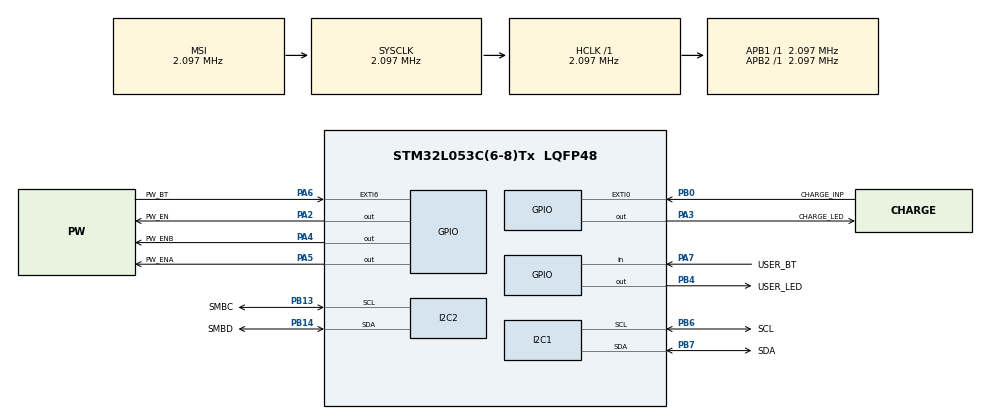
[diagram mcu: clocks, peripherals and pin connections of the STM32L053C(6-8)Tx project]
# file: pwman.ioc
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I2C1.SMBusOwnAddress=19
Mcu.Family=STM32L0
Mcu.Name=STM32L053C(6-8)Tx
Mcu.Package=LQFP48
NVIC.EXTI0_1_IRQn=true\:0\:0\:false\:false\:true\:true
NVIC.EXTI4_15_IRQn=true\:0\:0\:false\:false\:true\:true
NVIC.I2C1_IRQn=true\:0\:0\:false\:false\:true\:true
PA13.Mode=Serial_Wire
PA13.Signal=SYS_SWDIO
PA14.Mode=Serial_Wire
PA14.Signal=SYS_SWCLK
PA2.GPIO_Label=PW_EN
PA2.Signal=GPIO_Output
PA3.GPIO_Label=CHARGE_LED
PA3.Signal=GPIO_Output
PA4.GPIO_Label=PW_ENB
PA4.Signal=GPIO_Output
PA5.GPIO_Label=PW_ENA
PA5.Signal=GPIO_Output
PA6.GPIO_Label=PW_BT
PA6.GPIO_ModeDefaultEXTI=GPIO_MODE_IT_FALLING
PA6.GPIO_PuPd=GPIO_PULLUP
PA6.Signal=GPXTI6
PA7.GPIO_Label=USER_BT
PA7.GPIO_PuPd=GPIO_PULLUP
PA7.Signal=GPIO_Input
PB0.GPIO_Label=CHARGE_INP
PB0.GPIO_ModeDefaultEXTI=GPIO_MODE_IT_FALLING
PB0.GPIO_PuPd=GPIO_PULLUP
PB0.Signal=GPXTI0
PB13.GPIO_Label=SMBC
PB13.Mode=I2C
PB13.Signal=I2C2_SCL
PB14.GPIO_Label=SMBD
PB14.Mode=I2C
PB14.Signal=I2C2_SDA
PB4.GPIO_Label=USER_LED
PB4.Signal=GPIO_Output
PB6.GPIO_Label=SCL
PB6.Mode=SMBus-two-wire-Interface
PB6.Signal=I2C1_SCL
PB7.GPIO_Label=SDA
PB7.Mode=SMBus-two-wire-Interface
PB7.Signal=I2C1_SDA
ProjectManager.HeapSize=0x200
ProjectManager.StackSize=0x400
ProjectManager.TargetToolchain=EWARM
RCC.ADCFreq_Value=4000000
RCC.AHBFreq_Value=2097000
RCC.APB1Freq_Value=2097000
RCC.APB1TimFreq_Value=2097000
RCC.APB2Freq_Value=2097000
RCC.APB2TimFreq_Value=2097000
RCC.HCLKFreq_Value=2097000
RCC.HSE_VALUE=8000000
RCC.HSI16_VALUE=16000000
RCC.HSI48_VALUE=48000000
RCC.HSIRCDiv=4
RCC.HSI_VALUE=4000000
RCC.I2c1ClockSelection=RCC_I2C1CLKSOURCE_SYSCLK
RCC.LSE_VALUE=32768
RCC.MSI_VALUE=2097000
RCC.SYSCLKFreq_VALUE=2097000
RCC.VCOOutputFreq_Value=12000000
board=custom

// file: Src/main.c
/**
  ******************************************************************************
  * @file           : main.c
  * @brief          : Main program body
  ******************************************************************************
  ** This notice applies to any and all portions of this file
  * that are not between comment pairs USER CODE BEGIN and
  * USER CODE END. Other portions of this file, whether
  * inserted by the user or by software development tools
  * are owned by their respective copyright owners.
  *
  * COPYRIGHT(c) 2018 STMicroelectronics
  *
  * Redistribution and use in source and binary forms, with or without modification,
  * are permitted provided that the following conditions are met:
  *   1. Redistributions of source code must retain the above copyright notice,
  *      this list of conditions and the following disclaimer.
  *   2. Redistributions in binary form must reproduce the above copyright notice,
  *      this list of conditions and the following disclaimer in the documentation
  *      and/or other materials provided with the distribution.
  *   3. Neither the name of STMicroelectronics nor the names of its contributors
  *      may be used to endorse or promote products derived from this software
  *      without specific prior written permission.
  *
  * THIS SOFTWARE IS PROVIDED BY THE COPYRIGHT HOLDERS AND CONTRIBUTORS "AS IS"
  * AND ANY EXPRESS OR IMPLIED WARRANTIES, INCLUDING, BUT NOT LIMITED TO, THE
  * IMPLIED WARRANTIES OF MERCHANTABILITY AND FITNESS FOR A PARTICULAR PURPOSE ARE
  * DISCLAIMED. IN NO EVENT SHALL THE COPYRIGHT HOLDER OR CONTRIBUTORS BE LIABLE
  * FOR ANY DIRECT, INDIRECT, INCIDENTAL, SPECIAL, EXEMPLARY, OR CONSEQUENTIAL
  * DAMAGES (INCLUDING, BUT NOT LIMITED TO, PROCUREMENT OF SUBSTITUTE GOODS OR
  * SERVICES; LOSS OF USE, DATA, OR PROFITS; OR BUSINESS INTERRUPTION) HOWEVER
  * CAUSED AND ON ANY THEORY OF LIABILITY, WHETHER IN CONTRACT, STRICT LIABILITY,
  * OR TORT (INCLUDING NEGLIGENCE OR OTHERWISE) ARISING IN ANY WAY OUT OF THE USE
  * OF THIS SOFTWARE, EVEN IF ADVISED OF THE POSSIBILITY OF SUCH DAMAGE.
  *
  ******************************************************************************
  */
#include "main.h"
#include "stm32l0xx_hal.h"

/* USER CODE BEGIN Includes */
#include "state.h"
/* USER CODE END Includes */

SMBUS_HandleTypeDef hsmbus1;
I2C_HandleTypeDef hi2c2;

/* USER CODE BEGIN PV */
/* Private variables ---------------------------------------------------------*/

/* USER CODE END PV */

void SystemClock_Config(void);
static void MX_GPIO_Init(void);
static void MX_I2C1_SMBUS_Init(void);
static void MX_I2C2_Init(void);

/* USER CODE BEGIN PFP */
/* Private function prototypes -----------------------------------------------*/

/* USER CODE END PFP */

/* USER CODE BEGIN 0 */
static uint8_t i2c_cmd;
static uint8_t i2c_data[] = {1, 2};

// Address matched callback
void HAL_SMBUS_AddrCallback(SMBUS_HandleTypeDef *hsmbus, uint8_t TransferDirection, uint16_t AddrMatchCode)
{
  /* Prevent unused argument(s) compilation warning */
  UNUSED(AddrMatchCode);

  if (TransferDirection == 0) { // write command
    if (HAL_OK != HAL_SMBUS_Slave_Receive_IT(hsmbus, &i2c_cmd, 1, 0))
    {
      _Error_Handler(__FILE__, __LINE__);
    }
  } else {  // read data
    // returns single status byte for command 0
    if (HAL_OK != HAL_SMBUS_Slave_Transmit_IT(hsmbus, i2c_data, i2c_cmd ? sizeof(i2c_data) : 1, 0))
    {
      _Error_Handler(__FILE__, __LINE__);
    }
  }
}

// Listen completed callback
void HAL_SMBUS_ListenCpltCallback(SMBUS_HandleTypeDef *hsmbus)
{
  // restart listening
  HAL_SMBUS_EnableListen_IT(hsmbus);
}

// PW button pressed and charger connected event interrupts callback
void HAL_GPIO_EXTI_Callback(uint16_t GPIO_Pin)
{
  /* Prevent unused argument(s) compilation warning */
  UNUSED(GPIO_Pin);

}
/* USER CODE END 0 */

int main(void)
{

  /* MCU Configuration----------------------------------------------------------*/

  /* Reset of all peripherals, Initializes the Flash interface and the Systick. */
  HAL_Init();

  /* Configure the system clock */
  SystemClock_Config();

  /* Initialize all configured peripherals */
  MX_GPIO_Init();
  MX_I2C1_SMBUS_Init();
  MX_I2C2_Init();
  /* USER CODE BEGIN 2 */
  HAL_SMBUS_EnableListen_IT(&hsmbus1);
  /* USER CODE END 2 */

  /* Infinite loop */
  while (1)
  {

  /* USER CODE BEGIN 3 */
    state_process();
  }
  /* USER CODE END 3 */

}

void SystemClock_Config(void)
{

  RCC_OscInitTypeDef RCC_OscInitStruct;
  RCC_ClkInitTypeDef RCC_ClkInitStruct;
  RCC_PeriphCLKInitTypeDef PeriphClkInit;

    /**Configure the main internal regulator output voltage
    */
  __HAL_PWR_VOLTAGESCALING_CONFIG(PWR_REGULATOR_VOLTAGE_SCALE1);

    /**Initializes the CPU, AHB and APB busses clocks
    */
  RCC_OscInitStruct.OscillatorType = RCC_OSCILLATORTYPE_MSI;
  RCC_OscInitStruct.MSIState = RCC_MSI_ON;
  RCC_OscInitStruct.MSICalibrationValue = 0;
  RCC_OscInitStruct.MSIClockRange = RCC_MSIRANGE_5;
  RCC_OscInitStruct.PLL.PLLState = RCC_PLL_NONE;
  if (HAL_RCC_OscConfig(&RCC_OscInitStruct) != HAL_OK)
  {
    _Error_Handler(__FILE__, __LINE__);
  }

    /**Initializes the CPU, AHB and APB busses clocks
    */
  RCC_ClkInitStruct.ClockType = RCC_CLOCKTYPE_HCLK|RCC_CLOCKTYPE_SYSCLK
                              |RCC_CLOCKTYPE_PCLK1|RCC_CLOCKTYPE_PCLK2;
  RCC_ClkInitStruct.SYSCLKSource = RCC_SYSCLKSOURCE_MSI;
  RCC_ClkInitStruct.AHBCLKDivider = RCC_SYSCLK_DIV1;
  RCC_ClkInitStruct.APB1CLKDivider = RCC_HCLK_DIV1;
  RCC_ClkInitStruct.APB2CLKDivider = RCC_HCLK_DIV1;

  if (HAL_RCC_ClockConfig(&RCC_ClkInitStruct, FLASH_LATENCY_0) != HAL_OK)
  {
    _Error_Handler(__FILE__, __LINE__);
  }

  PeriphClkInit.PeriphClockSelection = RCC_PERIPHCLK_I2C1;
  PeriphClkInit.I2c1ClockSelection = RCC_I2C1CLKSOURCE_SYSCLK;
  if (HAL_RCCEx_PeriphCLKConfig(&PeriphClkInit) != HAL_OK)
  {
    _Error_Handler(__FILE__, __LINE__);
  }

    /**Configure the Systick interrupt time
    */
  HAL_SYSTICK_Config(HAL_RCC_GetHCLKFreq()/1000);

    /**Configure the Systick
    */
  HAL_SYSTICK_CLKSourceConfig(SYSTICK_CLKSOURCE_HCLK);

  /* SysTick_IRQn interrupt configuration */
  HAL_NVIC_SetPriority(SysTick_IRQn, 0, 0);
}

/* I2C1 init function */
static void MX_I2C1_SMBUS_Init(void)
{

  hsmbus1.Instance = I2C1;
  hsmbus1.Init.Timing = 0x00000708;
  hsmbus1.Init.AnalogFilter = SMBUS_ANALOGFILTER_ENABLE;
  hsmbus1.Init.OwnAddress1 = 38;
  hsmbus1.Init.AddressingMode = SMBUS_ADDRESSINGMODE_7BIT;
  hsmbus1.Init.DualAddressMode = SMBUS_DUALADDRESS_DISABLE;
  hsmbus1.Init.OwnAddress2 = 0;
  hsmbus1.Init.OwnAddress2Masks = SMBUS_OA2_NOMASK;
  hsmbus1.Init.GeneralCallMode = SMBUS_GENERALCALL_DISABLE;
  hsmbus1.Init.NoStretchMode = SMBUS_NOSTRETCH_DISABLE;
  hsmbus1.Init.PacketErrorCheckMode = SMBUS_PEC_DISABLE;
  hsmbus1.Init.PeripheralMode = SMBUS_PERIPHERAL_MODE_SMBUS_SLAVE;
  hsmbus1.Init.SMBusTimeout = 0x00008019;
  if (HAL_SMBUS_Init(&hsmbus1) != HAL_OK)
  {
    _Error_Handler(__FILE__, __LINE__);
  }

}

/* I2C2 init function */
static void MX_I2C2_Init(void)
{

  hi2c2.Instance = I2C2;
  hi2c2.Init.Timing = 0x00000708;
  hi2c2.Init.OwnAddress1 = 0;
  hi2c2.Init.AddressingMode = I2C_ADDRESSINGMODE_7BIT;
  hi2c2.Init.DualAddressMode = I2C_DUALADDRESS_DISABLE;
  hi2c2.Init.OwnAddress2 = 0;
  hi2c2.Init.OwnAddress2Masks = I2C_OA2_NOMASK;
  hi2c2.Init.GeneralCallMode = I2C_GENERALCALL_DISABLE;
  hi2c2.Init.NoStretchMode = I2C_NOSTRETCH_DISABLE;
  if (HAL_I2C_Init(&hi2c2) != HAL_OK)
  {
    _Error_Handler(__FILE__, __LINE__);
  }

    /**Configure Analogue filter
    */
  if (HAL_I2CEx_ConfigAnalogFilter(&hi2c2, I2C_ANALOGFILTER_ENABLE) != HAL_OK)
  {
    _Error_Handler(__FILE__, __LINE__);
  }

    /**Configure Digital filter
    */
  if (HAL_I2CEx_ConfigDigitalFilter(&hi2c2, 0) != HAL_OK)
  {
    _Error_Handler(__FILE__, __LINE__);
  }

}

/** Configure pins as
        * Analog
        * Input
        * Output
        * EVENT_OUT
        * EXTI
        * Free pins are configured automatically as Analog (this feature is enabled through
        * the Code Generation settings)
*/
static void MX_GPIO_Init(void)
{

  GPIO_InitTypeDef GPIO_InitStruct;

  /* GPIO Ports Clock Enable */
  __HAL_RCC_GPIOC_CLK_ENABLE();
  __HAL_RCC_GPIOH_CLK_ENABLE();
  __HAL_RCC_GPIOA_CLK_ENABLE();
  __HAL_RCC_GPIOB_CLK_ENABLE();

  /*Configure GPIO pin Output Level */
  HAL_GPIO_WritePin(GPIOA, PW_EN_Pin|CHARGE_LED_Pin|PW_ENB_Pin|PW_ENA_Pin, GPIO_PIN_RESET);

  /*Configure GPIO pin Output Level */
  HAL_GPIO_WritePin(USER_LED_GPIO_Port, USER_LED_Pin, GPIO_PIN_RESET);

  /*Configure GPIO pins : PC13 PC14 PC15 */
  GPIO_InitStruct.Pin = GPIO_PIN_13|GPIO_PIN_14|GPIO_PIN_15;
  GPIO_InitStruct.Mode = GPIO_MODE_ANALOG;
  GPIO_InitStruct.Pull = GPIO_NOPULL;
  HAL_GPIO_Init(GPIOC, &GPIO_InitStruct);

  /*Configure GPIO pins : PH0 PH1 */
  GPIO_InitStruct.Pin = GPIO_PIN_0|GPIO_PIN_1;
  GPIO_InitStruct.Mode = GPIO_MODE_ANALOG;
  GPIO_InitStruct.Pull = GPIO_NOPULL;
  HAL_GPIO_Init(GPIOH, &GPIO_InitStruct);

  /*Configure GPIO pins : PA0 PA1 PA8 PA9
                           PA10 PA11 PA12 PA15 */
  GPIO_InitStruct.Pin = GPIO_PIN_0|GPIO_PIN_1|GPIO_PIN_8|GPIO_PIN_9
                          |GPIO_PIN_10|GPIO_PIN_11|GPIO_PIN_12|GPIO_PIN_15;
  GPIO_InitStruct.Mode = GPIO_MODE_ANALOG;
  GPIO_InitStruct.Pull = GPIO_NOPULL;
  HAL_GPIO_Init(GPIOA, &GPIO_InitStruct);

  /*Configure GPIO pins : PW_EN_Pin CHARGE_LED_Pin PW_ENB_Pin PW_ENA_Pin */
  GPIO_InitStruct.Pin = PW_EN_Pin|CHARGE_LED_Pin|PW_ENB_Pin|PW_ENA_Pin;
  GPIO_InitStruct.Mode = GPIO_MODE_OUTPUT_PP;
  GPIO_InitStruct.Pull = GPIO_NOPULL;
  GPIO_InitStruct.Speed = GPIO_SPEED_FREQ_LOW;
  HAL_GPIO_Init(GPIOA, &GPIO_InitStruct);

  /*Configure GPIO pin : PW_BT_Pin */
  GPIO_InitStruct.Pin = PW_BT_Pin;
  GPIO_InitStruct.Mode = GPIO_MODE_IT_FALLING;
  GPIO_InitStruct.Pull = GPIO_PULLUP;
  HAL_GPIO_Init(PW_BT_GPIO_Port, &GPIO_InitStruct);

  /*Configure GPIO pin : USER_BT_Pin */
  GPIO_InitStruct.Pin = USER_BT_Pin;
  GPIO_InitStruct.Mode = GPIO_MODE_INPUT;
  GPIO_InitStruct.Pull = GPIO_PULLUP;
  HAL_GPIO_Init(USER_BT_GPIO_Port, &GPIO_InitStruct);

  /*Configure GPIO pin : CHARGE_INP_Pin */
  GPIO_InitStruct.Pin = CHARGE_INP_Pin;
  GPIO_InitStruct.Mode = GPIO_MODE_IT_FALLING;
  GPIO_InitStruct.Pull = GPIO_PULLUP;
  HAL_GPIO_Init(CHARGE_INP_GPIO_Port, &GPIO_InitStruct);

  /*Configure GPIO pins : PB1 PB2 PB10 PB11
                           PB12 PB15 PB3 PB5
                           PB8 PB9 */
  GPIO_InitStruct.Pin = GPIO_PIN_1|GPIO_PIN_2|GPIO_PIN_10|GPIO_PIN_11
                          |GPIO_PIN_12|GPIO_PIN_15|GPIO_PIN_3|GPIO_PIN_5
                          |GPIO_PIN_8|GPIO_PIN_9;
  GPIO_InitStruct.Mode = GPIO_MODE_ANALOG;
  GPIO_InitStruct.Pull = GPIO_NOPULL;
  HAL_GPIO_Init(GPIOB, &GPIO_InitStruct);

  /*Configure GPIO pin : USER_LED_Pin */
  GPIO_InitStruct.Pin = USER_LED_Pin;
  GPIO_InitStruct.Mode = GPIO_MODE_OUTPUT_PP;
  GPIO_InitStruct.Pull = GPIO_NOPULL;
  GPIO_InitStruct.Speed = GPIO_SPEED_FREQ_LOW;
  HAL_GPIO_Init(USER_LED_GPIO_Port, &GPIO_InitStruct);

  /* EXTI interrupt init*/
  HAL_NVIC_SetPriority(EXTI0_1_IRQn, 0, 0);
  HAL_NVIC_EnableIRQ(EXTI0_1_IRQn);

  HAL_NVIC_SetPriority(EXTI4_15_IRQn, 0, 0);
  HAL_NVIC_EnableIRQ(EXTI4_15_IRQn);

}

void _Error_Handler(char *file, int line)
{
  while(1)
  {
  }
}

/************************ (C) COPYRIGHT STMicroelectronics *****END OF FILE****/
